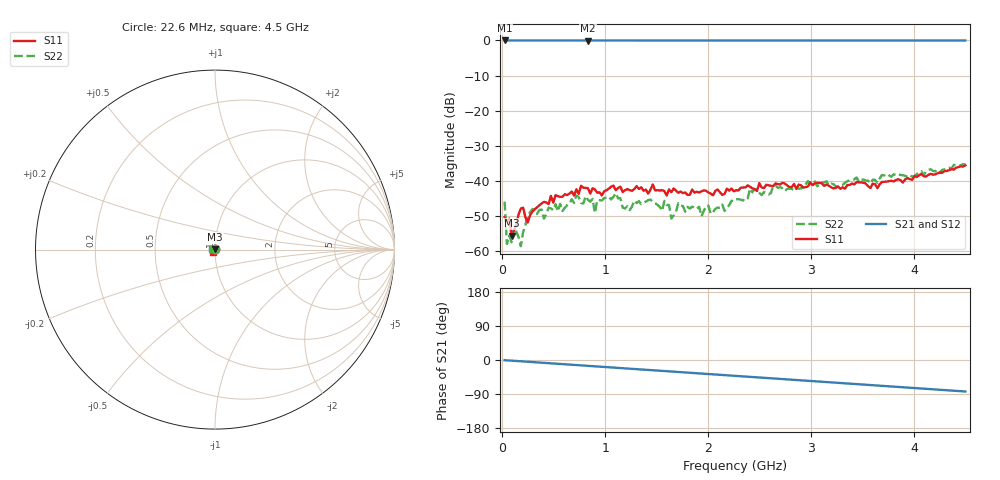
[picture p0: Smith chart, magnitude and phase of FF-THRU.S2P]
!Agilent Technologies,E5071C,MY46101151,A.11.34
!Date: Mon Sep 17 22:42:43 2018
!Data & Calibration Information:
!Freq	S11:SOLT2(ON)	S21:SOLT2(ON)	S12:SOLT2(ON)	S22:SOLT2(ON)
!PortZ  Port1:50+j0  Port2:50+j0
!Above PortZ is port z conversion or system Z0 setting when saving the data.
!When reading, reference impedance value at option line is always used.
# Hz S dB R 50
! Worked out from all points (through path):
!   200 points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, 22.6 MHz to 4.5 GHz, reference 50 ohm
!   highest |S21| = 0.01 dB at 22.6 MHz (marker M1); lowest = 0.0 dB at 832.6 MHz (marker M2)
!   group delay of S21, straight-line fit = 51.3 ps
!   lowest |S11| = -55.7 dB at 90.1 MHz (marker M3), VSWR 1.00, Z = 50 + j0.164 ohm
!   |S11| at or under -10 dB: start of sweep to end of sweep
!   |S22| runs from -58.7 to -35.3 dB; largest |S21 - S12| = 0.0016
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2.25995e7  -50.43 80.0  0.01 -0.6  0.01 -0.6  -46.03 97.2
4.5099e7  -51.67 134.5  0.01 -0.9  0.01 -0.9  -58.09 114.2
6.75985e7  -50.86 119.9  0.01 -1.4  0.01 -1.3  -55.73 133.3
9.0098e7  -55.70 85.5  0.00 -1.8  0.01 -1.8  -57.64 145.4
1.125975e8  -54.36 116.5  -0.00 -2.2  0.00 -2.2  -53.66 125.9
1.80096e8  -48.00 87.4  0.00 -3.4  0.01 -3.4  -58.74 77.6
2.475945e8  -51.96 88.7  0.00 -4.6  0.00 -4.6  -49.80 101.4
2.925935e8  -48.89 86.9  0.00 -5.4  0.00 -5.5  -48.13 99.1
4.05091e8  -46.08 70.7  -0.00 -7.5  0.00 -7.5  -50.90 88.8
7.20084e8  -42.49 64.3  -0.00 -13.3  -0.00 -13.3  -44.24 63.4
7.875825e8  -42.03 58.9  -0.00 -14.6  -0.00 -14.6  -46.58 80.6
8.325815e8  -42.21 51.9  -0.01 -15.4  0.00 -15.4  -45.50 92.9
9.0008e8  -42.54 42.2  0.00 -16.6  0.01 -16.6  -49.28 74.4
9.225795e8  -43.48 53.8  -0.00 -17.1  0.00 -17.0  -45.60 79.1
1.102576e9  -42.76 39.4  0.00 -20.4  0.00 -20.4  -43.62 75.1
1.237572e9  -42.76 28.8  -0.00 -22.9  0.00 -22.8  -48.42 70.1
1.530066e9  -42.85 9.8  0.00 -28.2  0.00 -28.2  -47.52 74.9
1.935057e9  -43.09 -30.3  0.00 -35.7  0.00 -35.7  -50.18 129.1
2.27255e9  -42.76 -60.5  0.00 -42.0  0.01 -42.0  -45.33 155.3
3.015033e9  -41.29 -97.0  0.00 -55.7  0.01 -55.7  -41.06 163.2
3.757516e9  -40.17 -111.2  0.00 -69.4  0.01 -69.3  -38.49 168.0
4.5e9  -35.64 -137.1  0.01 -83.2  0.01 -83.2  -35.34 162.1
